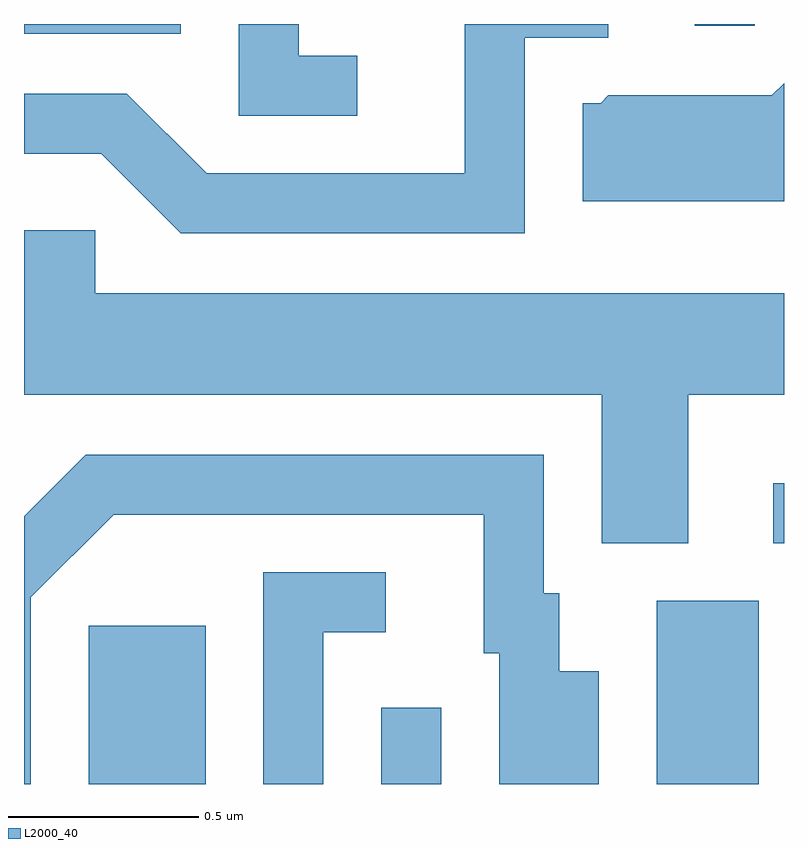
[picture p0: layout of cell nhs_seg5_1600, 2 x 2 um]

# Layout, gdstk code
import gdstk
lib = gdstk.Library(unit=1e-6, precision=1e-09)
def R(c, l, rs):  # rectangles x0, y0, x1, y1
    for r in rs: c.add(gdstk.rectangle(r[:2], r[2:], *l))
def P(c, l, *ps):  # polygons
    for p in ps: c.add(gdstk.Polygon(p, *l))
L2000_40 = (2000, 40)

nhs_seg5_1600 = lib.new_cell('nhs_seg5_1600')
R(nhs_seg5_1600, L2000_40, [(196.781,1489.072,197.089,1489.489), (197.551,1489.072,197.709,1489.273), (198.276,1489.072,198.544,1489.554), (198.583,1489.706,198.611,1489.864), (196.611,1491.046,197.024,1491.072), (198.376,1491.068,198.534,1491.072)])
P(nhs_seg5_1600, L2000_40, [(197.929,1491.036),(198.149,1491.036),(198.149,1491.072),(197.771,1491.072),(197.771,1490.679),(197.092,1490.679),(196.882,1490.889),(196.611,1490.889),(196.611,1490.731),(196.814,1490.731),(197.024,1490.521),(197.929,1490.521)],
  [(197.488,1490.989),(197.334,1490.989),(197.334,1491.072),(197.176,1491.072),(197.176,1490.831),(197.488,1490.831)],
  [(198.611,1490.916),(198.579,1490.884),(198.149,1490.884),(198.129,1490.864),(198.081,1490.864),(198.081,1490.606),(198.611,1490.606)],
  [(198.359,1490.096),(198.611,1490.096),(198.611,1490.364),(196.799,1490.364),(196.799,1490.529),(196.611,1490.529),(196.611,1490.096),(198.131,1490.096),(198.131,1489.706),(198.359,1489.706)],
  [(196.629,1489.564),(196.847,1489.781),(197.821,1489.781),(197.821,1489.416),(197.861,1489.416),(197.861,1489.072),(198.124,1489.072),(198.124,1489.369),(198.019,1489.369),(198.019,1489.574),(197.979,1489.574),(197.979,1489.939),(196.774,1489.939),(196.611,1489.777),(196.611,1489.072),(196.629,1489.072)],
  [(197.399,1489.471),(197.563,1489.471),(197.563,1489.629),(197.241,1489.629),(197.241,1489.072),(197.399,1489.072)])

lib.write_gds('nhs_seg5_1600.gds')
